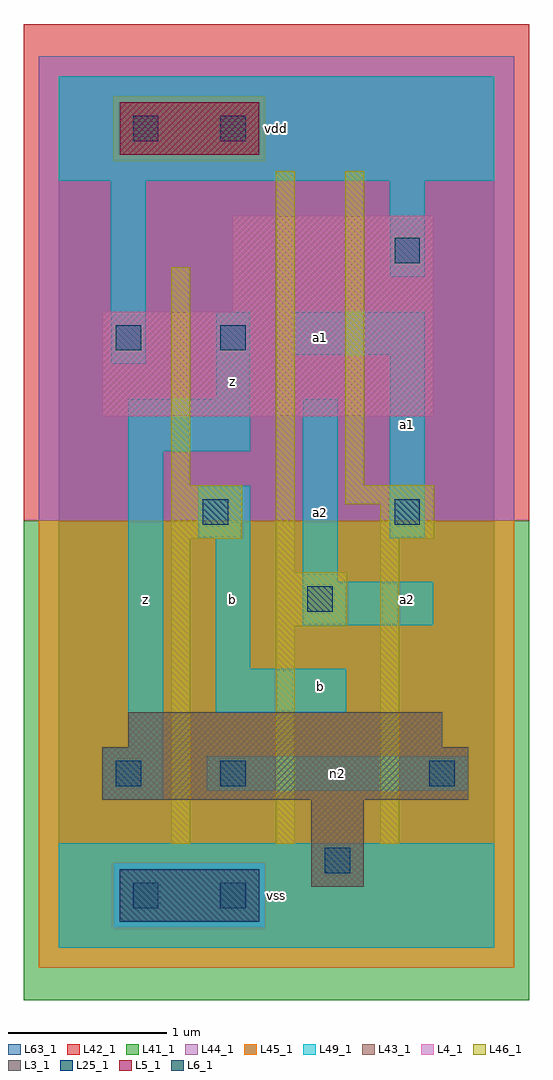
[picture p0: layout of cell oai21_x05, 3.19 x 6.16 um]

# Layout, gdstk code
import gdstk
lib = gdstk.Library(unit=1e-6, precision=1e-09)
def R(c, l, rs):  # rectangles x0, y0, x1, y1
    for r in rs: c.add(gdstk.rectangle(r[:2], r[2:], *l))
L3_1 = (3, 1)
L4_1 = (4, 1)
L5_1 = (5, 1)
L6_1 = (6, 1)
L25_1 = (25, 1)
L41_1 = (41, 1)
L42_1 = (42, 1)
L43_1 = (43, 1)
L44_1 = (44, 1)
L45_1 = (45, 1)
L46_1 = (46, 1)
L49_1 = (49, 1)
L63_1 = (63, 1)

oai21_x05 = lib.new_cell('oai21_x05')
R(oai21_x05, L3_1, [(1.595,0.385,1.925,0.935), (0.275,0.935,2.585,1.265), (0.44,1.265,2.42,1.485)])
R(oai21_x05, L4_1, [(0.275,3.355,2.365,4.015), (1.1,4.015,2.365,4.62)])
R(oai21_x05, L5_1, [(0.385,5.005,1.265,5.335)])
R(oai21_x05, L6_1, [(0.385,0.165,1.265,0.495)])
R(oai21_x05, L25_1, [(0.47,0.25,0.63,0.41), (1.02,0.25,1.18,0.41), (1.68,0.47,1.84,0.63), (0.36,1.02,0.52,1.18), (1.02,1.02,1.18,1.18), (2.34,1.02,2.5,1.18), (1.57,2.12,1.73,2.28), (0.91,2.67,1.07,2.83), (2.12,2.67,2.28,2.83), (0.36,3.77,0.52,3.93), (1.02,3.77,1.18,3.93), (2.12,4.32,2.28,4.48), (0.47,5.09,0.63,5.25), (1.02,5.09,1.18,5.25)])
R(oai21_x05, L41_1, [(-0.22,-0.33,2.97,2.695)])
R(oai21_x05, L42_1, [(-0.22,2.695,2.97,5.83)])
R(oai21_x05, L43_1, [(0.385,0.165,1.265,0.495), (1.595,0.385,1.925,0.935), (0.275,0.935,2.585,1.265), (0.44,1.265,2.42,1.485), (0.275,3.355,2.365,4.015), (1.1,4.015,2.365,4.62), (0.385,5.005,1.265,5.335)])
R(oai21_x05, L44_1, [(0.345,0.125,1.305,0.535), (-0.125,2.695,2.875,4.965), (-0.125,4.965,0.345,5.375), (1.305,4.965,2.875,5.375), (-0.125,5.375,2.875,5.625)])
R(oai21_x05, L45_1, [(-0.125,-0.125,2.875,0.125), (-0.125,0.125,0.345,0.535), (1.305,0.125,2.875,0.535), (-0.125,0.535,2.875,2.695), (0.345,4.965,1.305,5.375)])
R(oai21_x05, L46_1, [(0.71,0.655,0.83,2.58), (1.37,0.655,1.49,2.03), (2.03,0.655,2.15,2.58), (1.37,2.03,1.82,2.37), (1.37,2.37,1.49,4.9), (0.71,2.58,1.16,2.92), (2.03,2.58,2.37,2.8), (1.81,2.8,2.37,2.92), (0.71,2.92,0.83,4.295), (1.81,2.92,1.93,4.9)])
R(oai21_x05, L49_1, [(0,0,2.75,0.66), (0.275,0.935,0.66,1.265), (0.935,0.99,2.585,1.21), (0.44,1.265,0.66,3.135), (0.99,1.485,1.815,1.76), (0.99,1.76,1.21,2.585), (1.54,2.035,2.365,2.31), (1.54,2.31,1.76,3.465), (0.88,2.585,1.21,2.915), (2.09,2.585,2.31,3.74), (0.44,3.135,1.21,3.465), (0.99,3.465,1.21,4.015), (0.33,3.685,0.55,4.84), (1.485,3.74,2.31,4.015), (2.09,4.235,2.31,4.84), (0,4.84,2.75,5.5)])
R(oai21_x05, L63_1, [(0,0,2.75,5.5)])
oai21_x05.add(gdstk.Label('z', (0.55,2.2), layer=49, texttype=1))
oai21_x05.add(gdstk.Label('z', (0.55,2.2), layer=49, texttype=1))
oai21_x05.add(gdstk.Label('b', (1.1,2.2), layer=49, texttype=1))
oai21_x05.add(gdstk.Label('b', (1.1,2.2), layer=49, texttype=1))
oai21_x05.add(gdstk.Label('z', (1.1,3.575), layer=49, texttype=1))
oai21_x05.add(gdstk.Label('z', (1.1,3.575), layer=49, texttype=1))
oai21_x05.add(gdstk.Label('vss', (1.375,0.33), layer=49, texttype=1))
oai21_x05.add(gdstk.Label('vss', (1.375,0.33), layer=49, texttype=1))
oai21_x05.add(gdstk.Label('b', (1.65,1.65), layer=49, texttype=1))
oai21_x05.add(gdstk.Label('b', (1.65,1.65), layer=49, texttype=1))
oai21_x05.add(gdstk.Label('a2', (1.65,2.75), layer=49, texttype=1))
oai21_x05.add(gdstk.Label('a2', (1.65,2.75), layer=49, texttype=1))
oai21_x05.add(gdstk.Label('a1', (1.65,3.85), layer=49, texttype=1))
oai21_x05.add(gdstk.Label('a1', (1.65,3.85), layer=49, texttype=1))
oai21_x05.add(gdstk.Label('vdd', (1.375,5.17), layer=49, texttype=1))
oai21_x05.add(gdstk.Label('vdd', (1.375,5.17), layer=49, texttype=1))
oai21_x05.add(gdstk.Label('n2', (1.76,1.1), layer=49, texttype=1))
oai21_x05.add(gdstk.Label('a2', (2.2,2.2), layer=49, texttype=1))
oai21_x05.add(gdstk.Label('a2', (2.2,2.2), layer=49, texttype=1))
oai21_x05.add(gdstk.Label('a1', (2.2,3.3), layer=49, texttype=1))
oai21_x05.add(gdstk.Label('a1', (2.2,3.3), layer=49, texttype=1))

lib.write_gds('oai21_x05.gds')
